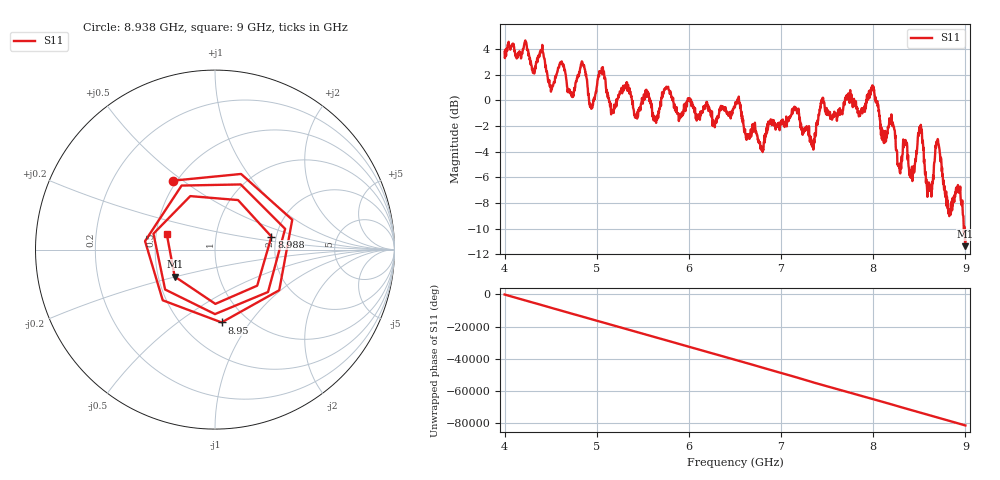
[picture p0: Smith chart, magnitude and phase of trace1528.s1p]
! Created with skrf 1.8.0 (http://scikit-rf.org).
# Hz S RI R 50.0
!freq ReS11 ImS11
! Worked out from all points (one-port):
!   1601 points, 4 GHz to 9 GHz, reference 50 ohm
!   lowest |S11| = -11.4 dB at 8.997 GHz (marker M1), VSWR 1.74, Z = 30.4 - j9.84 ohm
!   |S11| at or under -10 dB: 8.982488 GHz to 8.98661 GHz (4.122 MHz wide, 0.0459 % of centre); 8.989436 GHz to end of sweep
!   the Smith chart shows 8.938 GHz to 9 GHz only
!   S11 on the Smith chart (normalised r, x): 8.938 GHz: 0.48, +0.46; 8.95 GHz: 0.76, -0.74; 8.988 GHz: 1.89, +0.30; 9 GHz: 0.57, +0.11
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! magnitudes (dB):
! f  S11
! 4 GHz  3.8
! 4.625 GHz  2.8
! 4.725 GHz  0.6
! 4.853 GHz  2.8
! 4.941 GHz  -0.7
! 5.053 GHz  2.3
! 5.159 GHz  -1.0
! 5.25 GHz  0.7
! 5.875 GHz  -1.0
! 6.5 GHz  -0.5
! 6.791 GHz  -3.9
! 7.125 GHz  -0.7
! 7.338 GHz  -3.2
! 7.444 GHz  0.0
! 7.75 GHz  0.8
! 7.991 GHz  1.2
! 8.103 GHz  -3.0
! 8.375 GHz  -4.6
! 8.425 GHz  -6.3
! 8.509 GHz  -2.0
! 8.606 GHz  -6.4
! 8.7 GHz  -3.0
! 8.819 GHz  -8.9
! 8.938 GHz  -6.9
! 8.95 GHz  -7.8
! 8.988 GHz  -9.8
! 8.997 GHz  -11.4
! 9 GHz  -10.9
